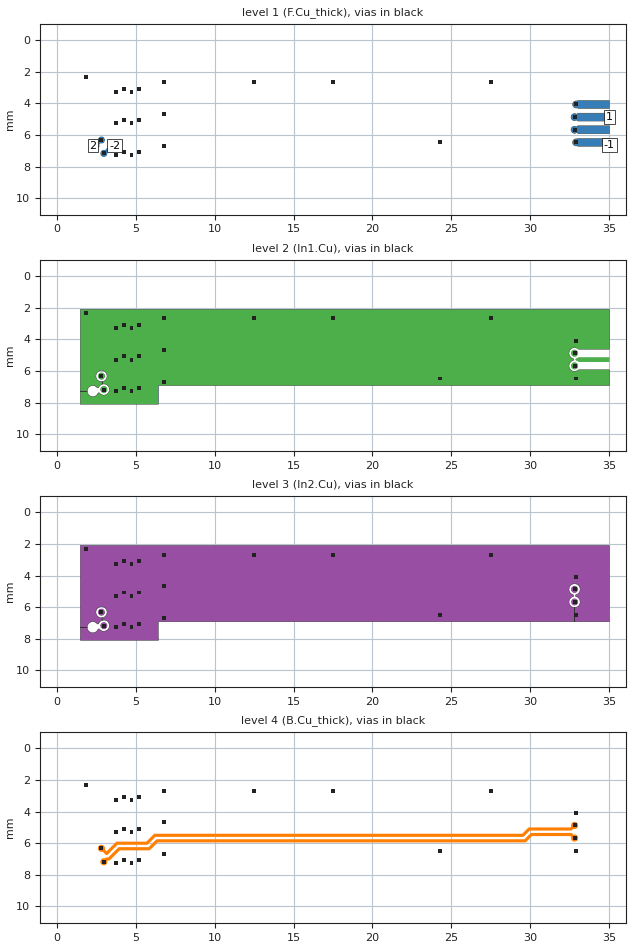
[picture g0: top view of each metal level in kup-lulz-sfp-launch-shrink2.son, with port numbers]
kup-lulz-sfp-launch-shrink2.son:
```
FTYP SONPROJ 19 ! Sonnet Project File
VER 18.56
HEADER
LIC antikernel2.1.52448
DAT 03/01/2024 21:15:39
BUILT_BY_CREATED dxf 18.56 02/22/2024 23:40:04
BUILT_BY_SAVED sonnet 18.56
MDATE 03/01/2024 21:15:25
HDATE 03/01/2024 21:15:25
ANN Created by dxfgeo, Sonnet Software Inc.
END HEADER
DIM
ANG DEG
CAP PF
CON /OH
FREQ GHZ
IND NH
LNG MM
RES OH
END DIM
CONTROL
VARSWP
OPTIONS  -dj
SPEED 1
CACHE_ABS 2
Q_ACC N
END CONTROL
GEO
TMET "Free Space" 0 FREESPACE 376.7303136 0 0 0
BMET "Free Space" 0 FREESPACE 376.7303136 0 0 0
MET "Copper_1oz+plated_thick_up" 1 TMM 58000000 0.5 0.0432 2
MET "Copper_1oz+plated_thin" 4 NOR 58000000 0.5 0.0432 
MET "Copper_0.5oz_thin" 2 NOR 58000000 0.5 0.0175 
MET "Copper_1oz+plated_thick_down" 3 TMM 58000000 0.5 0.0432 2 CDVY TDWN
BOX 6 35 10 2800 800 20 0
      10 1 1 0 0 0 0 "Air"
      0.05 3.5 1 0.02 0 0 0 "Soldermask"
      0.2021 3.61 1 0.0092 0 0 0 "Isola_FR408HR"
      1.1938 3.61 1 0.0092 0 0 0 "Isola_FR408HR"
      0.2021 3.61 1 0.0092 0 0 0 "Isola_FR408HR"
      0.05 3.5 1 0.02 0 0 0 "Soldermask"
      10 1 1 0 0 0 0 "Air"
TECHLAY METAL F.Cu_thick L1D0 -1 -65534 CAD F.Cu drawing 
1 0 0 N 2088 1 1 100 100 0 0 0 Y
END
END
TECHLAY METAL F.Cu_thin <UNSPECIFIED> -2 -65534 CAD F.Cu_thin drawing 
1 0 1 N 2090 1 1 100 100 0 0 0 Y
END
END
TECHLAY VIA Via1 L5D0 -7 -65534 CAD Via1 drawing 
VIA POLYGON
1 0 -1 N 2579 1 1 100 100 0 0 0 Y
TOLEVEL 4 RING NOCOVERS
END
END
TECHLAY METAL In1.Cu L2D0 -3 -65534 CAD In1.Cu drawing 
2 0 2 N 2095 1 1 100 100 0 0 0 Y
END
END
TECHLAY METAL In2.Cu L3D0 -4 -65534 CAD In2.Cu drawing 
3 0 2 N 2098 1 1 100 100 0 0 0 Y
END
END
TECHLAY METAL B.Cu_thick L4D0 -5 -65534 CAD B.Cu drawing 
4 0 3 N 2101 1 1 100 100 0 0 0 Y
END
END
TECHLAY METAL B.Cu_thin <UNSPECIFIED> -6 -65534 CAD B.Cu_thin drawing 
4 0 1 N 2103 1 1 100 100 0 0 0 Y
END
END
LORGN 0 10 U 
POR1 BOX
POLY 2221 1
51
1 100 0 0 0 34.993 4.871 
POR1 BOX
POLY 2454 1
51
-1 100 0 0 0 34.993 5.671 
POR1 CUP Auto
GNDREF AUTO
TERMW FEED
POLY 2530 1
90
2 100 0 0 0 2.3 6.671 
CUPGRP "Auto" LOCAL
ID 2577
END
POR1 CUP Auto
GNDREF AUTO
TERMW FEED
POLY 2532 1
33
-2 100 0 0 0 3.675 6.671 
CUPGRP "Auto" LOCAL
ID 2578
END
NUM 45
1 53 0 N 2221 1 1 100 100 0 0 0 Y
TLAYNAM F.Cu_thick INH
34.993 5.121
32.993 5.121
32.993 5.061
32.914 5.061
32.909 5.064
32.889 5.074
32.869 5.083
32.848 5.089
32.826 5.094
32.804 5.096
32.782 5.096
32.76 5.094
32.738 5.089
32.717 5.083
32.697 5.074
32.677 5.064
32.659 5.052
32.642 5.038
32.626 5.022
32.612 5.005
32.6 4.987
32.59 4.967
32.581 4.947
32.575 4.926
32.57 4.904
32.568 4.882
32.568 4.86
32.57 4.838
32.575 4.816
32.581 4.795
32.59 4.775
32.6 4.755
32.612 4.737
32.626 4.72
32.642 4.704
32.659 4.69
32.677 4.678
32.697 4.668
32.717 4.659
32.738 4.653
32.76 4.648
32.782 4.646
32.804 4.646
32.826 4.648
32.848 4.653
32.869 4.659
32.889 4.668
32.909 4.678
32.914 4.681
32.993 4.681
32.993 4.621
34.993 4.621
34.993 5.121
END
1 49 0 N 2225 1 1 100 100 0 0 0 Y
TLAYNAM F.Cu_thick INH
34.993 6.721
32.993 6.721
32.993 6.672
32.989 6.674
32.969 6.683
32.948 6.689
32.926 6.694
32.904 6.696
32.882 6.696
32.86 6.694
32.838 6.689
32.817 6.683
32.797 6.674
32.777 6.664
32.759 6.652
32.742 6.638
32.726 6.622
32.712 6.605
32.7 6.587
32.69 6.567
32.681 6.547
32.675 6.526
32.67 6.504
32.668 6.482
32.668 6.46
32.67 6.438
32.675 6.416
32.681 6.395
32.69 6.375
32.7 6.355
32.712 6.337
32.726 6.32
32.742 6.304
32.759 6.29
32.777 6.278
32.797 6.268
32.817 6.259
32.838 6.253
32.86 6.248
32.882 6.246
32.904 6.246
32.926 6.248
32.948 6.253
32.969 6.259
32.989 6.268
32.993 6.27
32.993 6.221
34.993 6.221
34.993 6.721
END
1 49 0 N 2400 1 1 100 100 0 0 0 Y
TLAYNAM F.Cu_thick INH
34.993 4.321
32.993 4.321
32.993 4.272
32.989 4.274
32.969 4.283
32.948 4.289
32.926 4.294
32.904 4.296
32.882 4.296
32.86 4.294
32.838 4.289
32.817 4.283
32.797 4.274
32.777 4.264
32.759 4.252
32.742 4.238
32.726 4.222
32.712 4.205
32.7 4.187
32.69 4.167
32.681 4.147
32.675 4.126
32.67 4.104
32.668 4.082
32.668 4.06
32.67 4.038
32.675 4.016
32.681 3.995
32.69 3.975
32.7 3.955
32.712 3.937
32.726 3.92
32.742 3.904
32.759 3.89
32.777 3.878
32.797 3.868
32.817 3.859
32.838 3.853
32.86 3.848
32.882 3.846
32.904 3.846
32.926 3.848
32.948 3.853
32.969 3.859
32.989 3.868
32.993 3.87
32.993 3.821
34.993 3.821
34.993 4.321
END
1 53 0 N 2454 1 1 100 100 0 0 0 Y
TLAYNAM F.Cu_thick INH
34.993 5.921
32.993 5.921
32.993 5.861
32.914 5.861
32.909 5.864
32.889 5.874
32.869 5.883
32.848 5.889
32.826 5.894
32.804 5.896
32.782 5.896
32.76 5.894
32.738 5.889
32.717 5.883
32.697 5.874
32.677 5.864
32.659 5.852
32.642 5.838
32.626 5.822
32.612 5.805
32.6 5.787
32.59 5.767
32.581 5.747
32.575 5.726
32.57 5.704
32.568 5.682
32.568 5.66
32.57 5.638
32.575 5.616
32.581 5.595
32.59 5.575
32.6 5.555
32.612 5.537
32.626 5.52
32.642 5.504
32.659 5.49
32.677 5.478
32.697 5.468
32.717 5.459
32.738 5.453
32.76 5.448
32.782 5.446
32.804 5.446
32.826 5.448
32.848 5.453
32.869 5.459
32.889 5.468
32.909 5.478
32.914 5.481
32.993 5.481
32.993 5.421
34.993 5.421
34.993 5.921
END
1 105 0 N 2530 1 1 100 100 0 0 0 Y
TLAYNAM F.Cu_thick INH
2.526 6.894
2.548 6.889
2.569 6.883
2.589 6.874
2.609 6.864
2.627 6.852
2.644 6.838
2.66 6.822
2.674 6.805
2.686 6.787
2.696 6.767
2.705 6.747
2.711 6.726
2.716 6.704
2.718 6.682
2.718 6.66
2.716 6.638
2.711 6.616
2.706 6.599
2.771 6.534
2.788 6.539
2.81 6.544
2.832 6.546
2.854 6.546
2.876 6.544
2.898 6.539
2.919 6.533
2.939 6.524
2.959 6.514
2.977 6.502
2.994 6.488
3.01 6.472
3.024 6.455
3.036 6.437
3.046 6.417
3.055 6.397
3.061 6.376
3.066 6.354
3.068 6.332
3.068 6.31
3.066 6.288
3.061 6.266
3.055 6.245
3.046 6.225
3.036 6.205
3.024 6.187
3.01 6.17
2.994 6.154
2.977 6.14
2.959 6.128
2.939 6.118
2.919 6.109
2.898 6.103
2.876 6.098
2.854 6.096
2.832 6.096
2.81 6.098
2.788 6.103
2.767 6.109
2.747 6.118
2.727 6.128
2.709 6.14
2.692 6.154
2.676 6.17
2.662 6.187
2.65 6.205
2.64 6.225
2.631 6.245
2.625 6.266
2.62 6.288
2.618 6.31
2.618 6.332
2.62 6.354
2.625 6.376
2.63 6.393
2.565 6.458
2.548 6.453
2.526 6.448
2.504 6.446
2.482 6.446
2.46 6.448
2.438 6.453
2.417 6.459
2.397 6.468
2.377 6.478
2.359 6.49
2.342 6.504
2.326 6.52
2.312 6.537
2.3 6.555
2.3 6.555
2.3 6.787
2.3 6.787
2.312 6.805
2.326 6.822
2.342 6.838
2.359 6.852
2.377 6.864
2.397 6.874
2.417 6.883
2.438 6.889
2.46 6.894
2.482 6.896
2.504 6.896
2.526 6.894
END
1 103 0 N 2532 1 1 100 100 0 0 0 Y
TLAYNAM F.Cu_thick INH
3.026 7.394
3.048 7.389
3.069 7.383
3.089 7.374
3.109 7.364
3.127 7.352
3.144 7.338
3.16 7.322
3.174 7.305
3.186 7.287
3.196 7.267
3.205 7.247
3.211 7.226
3.216 7.204
3.218 7.182
3.218 7.16
3.216 7.138
3.211 7.116
3.206 7.099
3.421 6.884
3.438 6.889
3.46 6.894
3.482 6.896
3.504 6.896
3.526 6.894
3.548 6.889
3.569 6.883
3.589 6.874
3.609 6.864
3.627 6.852
3.644 6.838
3.66 6.822
3.674 6.805
3.675 6.8035
3.675 6.5385
3.674 6.537
3.66 6.52
3.644 6.504
3.627 6.49
3.609 6.478
3.589 6.468
3.569 6.459
3.548 6.453
3.526 6.448
3.504 6.446
3.482 6.446
3.46 6.448
3.438 6.453
3.417 6.459
3.397 6.468
3.377 6.478
3.359 6.49
3.342 6.504
3.326 6.52
3.312 6.537
3.3 6.555
3.29 6.575
3.281 6.595
3.275 6.616
3.27 6.638
3.268 6.66
3.268 6.682
3.27 6.704
3.275 6.726
3.28 6.743
3.065 6.958
3.048 6.953
3.026 6.948
3.004 6.946
2.982 6.946
2.96 6.948
2.938 6.953
2.917 6.959
2.897 6.968
2.877 6.978
2.859 6.99
2.842 7.004
2.826 7.02
2.812 7.037
2.8 7.055
2.79 7.075
2.781 7.095
2.775 7.116
2.77 7.138
2.768 7.16
2.768 7.182
2.77 7.204
2.775 7.226
2.781 7.247
2.79 7.267
2.8 7.287
2.812 7.305
2.826 7.322
2.842 7.338
2.859 7.352
2.877 7.364
2.897 7.374
2.917 7.383
2.938 7.389
2.96 7.394
2.982 7.396
3.004 7.396
3.026 7.394
END
VIA POLYGON
1 5 -1 N 2214 1 1 100 100 0 0 0 Y
TOLEVEL 4 RING NOCOVERS
TLAYNAM Via1 INH
33.018 6.596
32.768 6.596
32.768 6.346
33.018 6.346
33.018 6.596
END
VIA POLYGON
1 5 -1 N 2230 1 1 100 100 0 0 0 Y
TOLEVEL 4 RING NOCOVERS
TLAYNAM Via1 INH
24.418 6.596
24.168 6.596
24.168 6.346
24.418 6.346
24.418 6.596
END
VIA POLYGON
1 5 -1 N 2236 1 1 100 100 0 0 0 Y
TOLEVEL 4 RING NOCOVERS
TLAYNAM Via1 INH
5.368 5.196
5.118 5.196
5.118 4.946
5.368 4.946
5.368 5.196
END
VIA POLYGON
1 5 -1 N 2242 1 1 100 100 0 0 0 Y
TOLEVEL 4 RING NOCOVERS
TLAYNAM Via1 INH
3.868 5.396
3.618 5.396
3.618 5.146
3.868 5.146
3.868 5.396
END
VIA POLYGON
1 5 -1 N 2253 1 1 100 100 0 0 0 Y
TOLEVEL 4 RING NOCOVERS
TLAYNAM Via1 INH
1.968 2.446
1.718 2.446
1.718 2.196
1.968 2.196
1.968 2.446
END
VIA POLYGON
1 5 -1 N 2265 1 1 100 100 0 0 0 Y
TOLEVEL 4 RING NOCOVERS
TLAYNAM Via1 INH
32.918 4.996
32.668 4.996
32.668 4.746
32.918 4.746
32.918 4.996
END
VIA POLYGON
1 5 -1 N 2273 1 1 100 100 0 0 0 Y
TOLEVEL 4 RING NOCOVERS
TLAYNAM Via1 INH
4.368 3.196
4.118 3.196
4.118 2.946
4.368 2.946
4.368 3.196
END
VIA POLYGON
1 5 -1 N 2286 1 1 100 100 0 0 0 Y
TOLEVEL 4 RING NOCOVERS
TLAYNAM Via1 INH
33.018 4.196
32.768 4.196
32.768 3.946
33.018 3.946
33.018 4.196
END
VIA POLYGON
1 5 -1 N 2298 1 1 100 100 0 0 0 Y
TOLEVEL 4 RING NOCOVERS
TLAYNAM Via1 INH
2.968 6.446
2.718 6.446
2.718 6.196
2.968 6.196
2.968 6.446
END
VIA POLYGON
1 5 -1 N 2301 1 1 100 100 0 0 0 Y
TOLEVEL 4 RING NOCOVERS
TLAYNAM Via1 INH
4.368 7.196
4.118 7.196
4.118 6.946
4.368 6.946
4.368 7.196
END
VIA POLYGON
1 5 -1 N 2304 1 1 100 100 0 0 0 Y
TOLEVEL 4 RING NOCOVERS
TLAYNAM Via1 INH
3.868 7.396
3.618 7.396
3.618 7.146
3.868 7.146
3.868 7.396
END
VIA POLYGON
1 5 -1 N 2306 1 1 100 100 0 0 0 Y
TOLEVEL 4 RING NOCOVERS
TLAYNAM Via1 INH
6.918 4.796
6.668 4.796
6.668 4.546
6.918 4.546
6.918 4.796
END
VIA POLYGON
1 5 -1 N 2308 1 1 100 100 0 0 0 Y
TOLEVEL 4 RING NOCOVERS
TLAYNAM Via1 INH
4.868 5.396
4.618 5.396
4.618 5.146
4.868 5.146
4.868 5.396
END
VIA POLYGON
1 5 -1 N 2309 1 1 100 100 0 0 0 Y
TOLEVEL 4 RING NOCOVERS
TLAYNAM Via1 INH
6.918 6.796
6.668 6.796
6.668 6.546
6.918 6.546
6.918 6.796
END
VIA POLYGON
1 5 -1 N 2323 1 1 100 100 0 0 0 Y
TOLEVEL 4 RING NOCOVERS
TLAYNAM Via1 INH
3.118 7.296
2.868 7.296
2.868 7.046
3.118 7.046
3.118 7.296
END
VIA POLYGON
1 5 -1 N 2328 1 1 100 100 0 0 0 Y
TOLEVEL 4 RING NOCOVERS
TLAYNAM Via1 INH
3.868 3.396
3.618 3.396
3.618 3.146
3.868 3.146
3.868 3.396
END
VIA POLYGON
1 5 -1 N 2344 1 1 100 100 0 0 0 Y
TOLEVEL 4 RING NOCOVERS
TLAYNAM Via1 INH
6.918 2.796
6.668 2.796
6.668 2.546
6.918 2.546
6.918 2.796
END
VIA POLYGON
1 5 -1 N 2346 1 1 100 100 0 0 0 Y
TOLEVEL 4 RING NOCOVERS
TLAYNAM Via1 INH
32.918 5.796
32.668 5.796
32.668 5.546
32.918 5.546
32.918 5.796
END
VIA POLYGON
1 5 -1 N 2372 1 1 100 100 0 0 0 Y
TOLEVEL 4 RING NOCOVERS
TLAYNAM Via1 INH
4.868 7.396
4.618 7.396
4.618 7.146
4.868 7.146
4.868 7.396
END
VIA POLYGON
1 5 -1 N 2375 1 1 100 100 0 0 0 Y
TOLEVEL 4 RING NOCOVERS
TLAYNAM Via1 INH
4.368 5.196
4.118 5.196
4.118 4.946
4.368 4.946
4.368 5.196
END
VIA POLYGON
1 5 -1 N 2384 1 1 100 100 0 0 0 Y
TOLEVEL 4 RING NOCOVERS
TLAYNAM Via1 INH
12.618 2.796
12.368 2.796
12.368 2.546
12.618 2.546
12.618 2.796
END
VIA POLYGON
1 5 -1 N 2393 1 1 100 100 0 0 0 Y
TOLEVEL 4 RING NOCOVERS
TLAYNAM Via1 INH
5.368 3.196
5.118 3.196
5.118 2.946
5.368 2.946
5.368 3.196
END
VIA POLYGON
1 5 -1 N 2398 1 1 100 100 0 0 0 Y
TOLEVEL 4 RING NOCOVERS
TLAYNAM Via1 INH
4.868 3.396
4.618 3.396
4.618 3.146
4.868 3.146
4.868 3.396
END
VIA POLYGON
1 5 -1 N 2434 1 1 100 100 0 0 0 Y
TOLEVEL 4 RING NOCOVERS
TLAYNAM Via1 INH
17.618 2.796
17.368 2.796
17.368 2.546
17.618 2.546
17.618 2.796
END
VIA POLYGON
1 5 -1 N 2441 1 1 100 100 0 0 0 Y
TOLEVEL 4 RING NOCOVERS
TLAYNAM Via1 INH
5.368 7.196
5.118 7.196
5.118 6.946
5.368 6.946
5.368 7.196
END
VIA POLYGON
1 5 -1 N 2448 1 1 100 100 0 0 0 Y
TOLEVEL 4 RING NOCOVERS
TLAYNAM Via1 INH
27.618 2.796
27.368 2.796
27.368 2.546
27.618 2.546
27.618 2.796
END
2 65 2 N 2275 1 1 100 100 0 0 0 Y
TLAYNAM In1.Cu INH
33.018 5.682
33.016 5.704
33.011 5.726
33.005 5.747
32.996 5.767
32.986 5.787
32.974 5.805
32.96 5.822
32.944 5.838
32.927 5.852
32.909 5.864
32.889 5.874
32.869 5.883
32.848 5.889
32.826 5.894
32.804 5.896
32.782 5.896
32.76 5.894
32.738 5.889
32.717 5.883
32.697 5.874
32.677 5.864
32.659 5.852
32.642 5.838
32.626 5.822
32.612 5.805
32.6 5.787
32.59 5.767
32.581 5.747
32.575 5.726
32.57 5.704
32.568 5.682
32.568 5.66
32.57 5.638
32.575 5.616
32.581 5.595
32.59 5.575
32.6 5.555
32.612 5.537
32.626 5.52
32.642 5.504
32.659 5.49
32.677 5.478
32.697 5.468
32.717 5.459
32.738 5.453
32.76 5.448
32.782 5.446
32.804 5.446
32.826 5.448
32.848 5.453
32.869 5.459
32.889 5.468
32.909 5.478
32.927 5.49
32.944 5.504
32.96 5.52
32.974 5.537
32.986 5.555
32.996 5.575
33.005 5.595
33.011 5.616
33.016 5.638
33.018 5.66
33.018 5.682
END
2 65 2 N 2277 1 1 100 100 0 0 0 Y
TLAYNAM In1.Cu INH
33.018 4.882
33.016 4.904
33.011 4.926
33.005 4.947
32.996 4.967
32.986 4.987
32.974 5.005
32.96 5.022
32.944 5.038
32.927 5.052
32.909 5.064
32.889 5.074
32.869 5.083
32.848 5.089
32.826 5.094
32.804 5.096
32.782 5.096
32.76 5.094
32.738 5.089
32.717 5.083
32.697 5.074
32.677 5.064
32.659 5.052
32.642 5.038
32.626 5.022
32.612 5.005
32.6 4.987
32.59 4.967
32.581 4.947
32.575 4.926
32.57 4.904
32.568 4.882
32.568 4.86
32.57 4.838
32.575 4.816
32.581 4.795
32.59 4.775
32.6 4.755
32.612 4.737
32.626 4.72
32.642 4.704
32.659 4.69
32.677 4.678
32.697 4.668
32.717 4.659
32.738 4.653
32.76 4.648
32.782 4.646
32.804 4.646
32.826 4.648
32.848 4.653
32.869 4.659
32.889 4.668
32.909 4.678
32.927 4.69
32.944 4.704
32.96 4.72
32.974 4.737
32.986 4.755
32.996 4.775
33.005 4.795
33.011 4.816
33.016 4.838
33.018 4.86
33.018 4.882
END
2 65 2 N 2365 1 1 100 100 0 0 0 Y
TLAYNAM In1.Cu INH
3.068 6.332
3.066 6.354
3.061 6.376
3.055 6.397
3.046 6.417
3.036 6.437
3.024 6.455
3.01 6.472
2.994 6.488
2.977 6.502
2.959 6.514
2.939 6.524
2.919 6.533
2.898 6.539
2.876 6.544
2.854 6.546
2.832 6.546
2.81 6.544
2.788 6.539
2.767 6.533
2.747 6.524
2.727 6.514
2.709 6.502
2.692 6.488
2.676 6.472
2.662 6.455
2.65 6.437
2.64 6.417
2.631 6.397
2.625 6.376
2.62 6.354
2.618 6.332
2.618 6.31
2.62 6.288
2.625 6.266
2.631 6.245
2.64 6.225
2.65 6.205
2.662 6.187
2.676 6.17
2.692 6.154
2.709 6.14
2.727 6.128
2.747 6.118
2.767 6.109
2.788 6.103
2.81 6.098
2.832 6.096
2.854 6.096
2.876 6.098
2.898 6.103
2.919 6.109
2.939 6.118
2.959 6.128
2.977 6.14
2.994 6.154
3.01 6.17
3.024 6.187
3.036 6.205
3.046 6.225
3.055 6.245
3.061 6.266
3.066 6.288
3.068 6.31
3.068 6.332
END
2 65 2 N 2388 1 1 100 100 0 0 0 Y
TLAYNAM In1.Cu INH
3.218 7.182
3.216 7.204
3.211 7.226
3.205 7.247
3.196 7.267
3.186 7.287
3.174 7.305
3.16 7.322
3.144 7.338
3.127 7.352
3.109 7.364
3.089 7.374
3.069 7.383
3.048 7.389
3.026 7.394
3.004 7.396
2.982 7.396
2.96 7.394
2.938 7.389
2.917 7.383
2.897 7.374
2.877 7.364
2.859 7.352
2.842 7.338
2.826 7.322
2.812 7.305
2.8 7.287
2.79 7.267
2.781 7.247
2.775 7.226
2.77 7.204
2.768 7.182
2.768 7.16
2.77 7.138
2.775 7.116
2.781 7.095
2.79 7.075
2.8 7.055
2.812 7.037
2.826 7.02
2.842 7.004
2.859 6.99
2.877 6.978
2.897 6.968
2.917 6.959
2.938 6.953
2.96 6.948
2.982 6.946
3.004 6.946
3.026 6.948
3.048 6.953
3.069 6.959
3.089 6.968
3.109 6.978
3.127 6.99
3.144 7.004
3.16 7.02
3.174 7.037
3.186 7.055
3.196 7.075
3.205 7.095
3.211 7.116
3.216 7.138
3.218 7.16
3.218 7.182
END
2 16 2 N 2478 1 1 100 100 0 0 0 Y
TLAYNAM In1.Cu INH
34.993 5.121
33.064 5.121
33.021 5.139
33.002 5.158
32.903 5.208
32.892 5.21
32.865 5.221
32.84 5.261
32.851 5.307
32.892 5.332
32.903 5.333
33.002 5.384
33.021 5.403
33.064 5.421
34.993 5.421
34.993 5.121
END
2 126 2 N 2564 1 1 100 100 0 0 0 Y
TLAYNAM In1.Cu INH
6.45 6.921
34.993 6.921
34.993 5.921
33.064 5.921
33.021 5.939
33.002 5.958
32.903 6.008
32.793 6.026
32.683 6.008
32.584 5.958
32.578 5.952
32.578 5.952
32.506 5.88
32.456 5.781
32.438 5.671
32.456 5.561
32.506 5.462
32.584 5.384
32.683 5.333
32.694 5.332
32.721 5.321
32.746 5.281
32.735 5.235
32.694 5.21
32.683 5.208
32.584 5.158
32.506 5.08
32.456 4.981
32.438 4.871
32.456 4.761
32.506 4.662
32.584 4.584
32.683 4.533
32.793 4.516
32.903 4.533
32.944 4.555
33.002 4.584
33.021 4.603
33.064 4.621
34.993 4.621
34.993 4.275
34.993 2.094
1.506 2.094
1.506 3.56911
1.506 7.271
1.938 7.271
1.956 7.161
2.006 7.062
2.038 7.03
2.084 6.984
2.183 6.933
2.293 6.916
2.393 6.932
2.403 6.933
2.488 6.977
2.502 6.984
2.57 7.052
2.585 7.063
2.632 7.067
2.668 7.037
2.68 7.013
2.706 6.962
2.784 6.884
2.843 6.854
2.883 6.833
2.883 6.669455
2.883 6.669455
2.843 6.676
2.733 6.658
2.634 6.608
2.556 6.53
2.506 6.431
2.488 6.321
2.506 6.211
2.556 6.112
2.634 6.034
2.733 5.983
2.843 5.966
2.953 5.983
3.052 6.034
3.13 6.112
3.181 6.211
3.198 6.321
3.181 6.431
3.13 6.53
3.052 6.608
2.953 6.658
2.883 6.669455
2.883 6.833
2.883 6.833
2.883 6.833
2.883 6.833
2.883 6.833
2.883 6.833
2.993 6.816
3.103 6.833
3.202 6.884
3.28 6.962
3.331 7.061
3.348 7.171
3.331 7.281
3.28 7.38
3.202 7.458
3.103 7.508
2.993 7.526
2.883 7.508
2.784 7.458
2.716 7.39
2.701 7.379
2.654 7.375
2.618 7.405
2.582 7.475
2.58 7.48
2.502 7.558
2.403 7.608
2.293 7.626
2.183 7.608
2.084 7.558
2.006 7.48
1.956 7.381
1.938 7.271
1.506 7.271
1.506 7.271
1.506 8.1
6.45 8.1
6.45 6.921
END
3 65 2 N 2252 1 1 100 100 0 0 0 Y
TLAYNAM In2.Cu INH
33.018 5.682
33.016 5.704
33.011 5.726
33.005 5.747
32.996 5.767
32.986 5.787
32.974 5.805
32.96 5.822
32.944 5.838
32.927 5.852
32.909 5.864
32.889 5.874
32.869 5.883
32.848 5.889
32.826 5.894
32.804 5.896
32.782 5.896
32.76 5.894
32.738 5.889
32.717 5.883
32.697 5.874
32.677 5.864
32.659 5.852
32.642 5.838
32.626 5.822
32.612 5.805
32.6 5.787
32.59 5.767
32.581 5.747
32.575 5.726
32.57 5.704
32.568 5.682
32.568 5.66
32.57 5.638
32.575 5.616
32.581 5.595
32.59 5.575
32.6 5.555
32.612 5.537
32.626 5.52
32.642 5.504
32.659 5.49
32.677 5.478
32.697 5.468
32.717 5.459
32.738 5.453
32.76 5.448
32.782 5.446
32.804 5.446
32.826 5.448
32.848 5.453
32.869 5.459
32.889 5.468
32.909 5.478
32.927 5.49
32.944 5.504
32.96 5.52
32.974 5.537
32.986 5.555
32.996 5.575
33.005 5.595
33.011 5.616
33.016 5.638
33.018 5.66
33.018 5.682
END
3 65 2 N 2379 1 1 100 100 0 0 0 Y
TLAYNAM In2.Cu INH
3.068 6.332
3.066 6.354
3.061 6.376
3.055 6.397
3.046 6.417
3.036 6.437
3.024 6.455
3.01 6.472
2.994 6.488
2.977 6.502
2.959 6.514
2.939 6.524
2.919 6.533
2.898 6.539
2.876 6.544
2.854 6.546
2.832 6.546
2.81 6.544
2.788 6.539
2.767 6.533
2.747 6.524
2.727 6.514
2.709 6.502
2.692 6.488
2.676 6.472
2.662 6.455
2.65 6.437
2.64 6.417
2.631 6.397
2.625 6.376
2.62 6.354
2.618 6.332
2.618 6.31
2.62 6.288
2.625 6.266
2.631 6.245
2.64 6.225
2.65 6.205
2.662 6.187
2.676 6.17
2.692 6.154
2.709 6.14
2.727 6.128
2.747 6.118
2.767 6.109
2.788 6.103
2.81 6.098
2.832 6.096
2.854 6.096
2.876 6.098
2.898 6.103
2.919 6.109
2.939 6.118
2.959 6.128
2.977 6.14
2.994 6.154
3.01 6.17
3.024 6.187
3.036 6.205
3.046 6.225
3.055 6.245
3.061 6.266
3.066 6.288
3.068 6.31
3.068 6.332
END
3 65 2 N 2411 1 1 100 100 0 0 0 Y
TLAYNAM In2.Cu INH
33.018 4.882
33.016 4.904
33.011 4.926
33.005 4.947
32.996 4.967
32.986 4.987
32.974 5.005
32.96 5.022
32.944 5.038
32.927 5.052
32.909 5.064
32.889 5.074
32.869 5.083
32.848 5.089
32.826 5.094
32.804 5.096
32.782 5.096
32.76 5.094
32.738 5.089
32.717 5.083
32.697 5.074
32.677 5.064
32.659 5.052
32.642 5.038
32.626 5.022
32.612 5.005
32.6 4.987
32.59 4.967
32.581 4.947
32.575 4.926
32.57 4.904
32.568 4.882
32.568 4.86
32.57 4.838
32.575 4.816
32.581 4.795
32.59 4.775
32.6 4.755
32.612 4.737
32.626 4.72
32.642 4.704
32.659 4.69
32.677 4.678
32.697 4.668
32.717 4.659
32.738 4.653
32.76 4.648
32.782 4.646
32.804 4.646
32.826 4.648
32.848 4.653
32.869 4.659
32.889 4.668
32.909 4.678
32.927 4.69
32.944 4.704
32.96 4.72
32.974 4.737
32.986 4.755
32.996 4.775
33.005 4.795
33.011 4.816
33.016 4.838
33.018 4.86
33.018 4.882
END
3 65 2 N 2432 1 1 100 100 0 0 0 Y
TLAYNAM In2.Cu INH
3.218 7.182
3.216 7.204
3.211 7.226
3.205 7.247
3.196 7.267
3.186 7.287
3.174 7.305
3.16 7.322
3.144 7.338
3.127 7.352
3.109 7.364
3.089 7.374
3.069 7.383
3.048 7.389
3.026 7.394
3.004 7.396
2.982 7.396
2.96 7.394
2.938 7.389
2.917 7.383
2.897 7.374
2.877 7.364
2.859 7.352
2.842 7.338
2.826 7.322
2.812 7.305
2.8 7.287
2.79 7.267
2.781 7.247
2.775 7.226
2.77 7.204
2.768 7.182
2.768 7.16
2.77 7.138
2.775 7.116
2.781 7.095
2.79 7.075
2.8 7.055
2.812 7.037
2.826 7.02
2.842 7.004
2.859 6.99
2.877 6.978
2.897 6.968
2.917 6.959
2.938 6.953
2.96 6.948
2.982 6.946
3.004 6.946
3.026 6.948
3.048 6.953
3.069 6.959
3.089 6.968
3.109 6.978
3.127 6.99
3.144 7.004
3.16 7.02
3.174 7.037
3.186 7.055
3.196 7.075
3.205 7.095
3.211 7.116
3.216 7.138
3.218 7.16
3.218 7.182
END
3 147 2 N 2565 1 1 100 100 0 0 0 Y
TLAYNAM In2.Cu INH
6.45 6.921
32.793 6.921
32.793 6.026
32.683 6.008
32.584 5.958
32.578 5.952
32.578 5.952
32.506 5.88
32.456 5.781
32.438 5.671
32.456 5.561
32.506 5.462
32.584 5.384
32.683 5.333
32.694 5.332
32.721 5.321
32.746 5.281
32.735 5.235
32.694 5.21
32.683 5.208
32.584 5.158
32.506 5.08
32.456 4.981
32.438 4.871
32.456 4.761
32.506 4.662
32.584 4.584
32.683 4.533
32.793 4.516
32.903 4.533
32.944 4.555
33.002 4.584
33.08 4.662
33.131 4.761
33.148 4.871
33.131 4.981
33.08 5.08
33.002 5.158
32.903 5.208
32.892 5.21
32.865 5.221
32.84 5.261
32.851 5.307
32.892 5.332
32.903 5.333
33.002 5.384
33.08 5.462
33.131 5.561
33.148 5.671
33.131 5.781
33.08 5.88
33.002 5.958
32.903 6.008
32.793 6.026
32.793 6.921
34.993 6.921
34.993 4.325
34.993 3.472
34.993 3.07
34.993 2.672
34.993 2.27
34.993 2.131454545
34.993 2.094
1.506 2.094
1.506 3.56911
1.506 7.271
1.938 7.271
1.956 7.161
2.006 7.062
2.038 7.03
2.084 6.984
2.183 6.933
2.293 6.916
2.393 6.932
2.403 6.933
2.488 6.977
2.502 6.984
2.57 7.052
2.585 7.063
2.632 7.067
2.668 7.037
2.68 7.013
2.706 6.962
2.784 6.884
2.843 6.854
2.883 6.833
2.883 6.669455
2.883 6.669455
2.843 6.676
2.733 6.658
2.634 6.608
2.556 6.53
2.506 6.431
2.488 6.321
2.506 6.211
2.556 6.112
2.634 6.034
2.733 5.983
2.843 5.966
2.953 5.983
3.052 6.034
3.13 6.112
3.181 6.211
3.198 6.321
3.181 6.431
3.13 6.53
3.052 6.608
2.953 6.658
2.883 6.669455
2.883 6.833
2.883 6.833
2.883 6.833
2.883 6.833
2.883 6.833
2.883 6.833
2.993 6.816
3.103 6.833
3.202 6.884
3.28 6.962
3.331 7.061
3.348 7.171
3.331 7.281
3.28 7.38
3.202 7.458
3.103 7.508
2.993 7.526
2.883 7.508
2.784 7.458
2.716 7.39
2.701 7.379
2.654 7.375
2.618 7.405
2.582 7.475
2.58 7.48
2.502 7.558
2.403 7.608
2.293 7.626
2.183 7.608
2.084 7.558
2.006 7.48
1.956 7.381
1.938 7.271
1.506 7.271
1.506 7.271
1.506 8.1
6.45 8.1
6.45 6.921
END
4 189 3 N 2263 1 1 100 100 0 0 0 Y
TLAYNAM B.Cu_thick INH
33.018 5.682
33.016 5.704
33.011 5.726
33.005 5.747
32.996 5.767
32.986 5.787
32.974 5.805
32.96 5.822
32.944 5.838
32.927 5.852
32.909 5.864
32.889 5.874
32.869 5.883
32.848 5.889
32.826 5.894
32.804 5.896
32.782 5.896
32.76 5.894
32.738 5.889
32.717 5.883
32.697 5.874
32.677 5.864
32.659 5.852
32.642 5.838
32.626 5.822
32.612 5.805
32.6 5.787
32.59 5.767
32.581 5.747
32.575 5.726
32.57 5.704
32.568 5.682
32.568 5.66
32.57 5.638
32.575 5.616
32.58 5.599
32.527 5.546
30.106 5.546
29.732 5.92
29.725 5.926
29.716 5.932
29.708 5.937
29.699 5.94
29.689 5.943
29.68 5.945
29.67 5.946
6.406 5.946
5.932 6.42
5.925 6.426
5.916 6.432
5.908 6.437
5.899 6.44
5.889 6.443
5.88 6.445
5.87 6.446
4.006 6.446
3.396 7.056
3.39 7.063
3.383 7.07
3.382 7.07
3.375 7.076
3.367 7.082
3.358 7.087
3.34 7.093
3.33 7.095
3.32 7.096
3.209 7.096
3.206 7.099
3.211 7.116
3.216 7.138
3.218 7.16
3.218 7.182
3.216 7.204
3.211 7.226
3.205 7.247
3.196 7.267
3.186 7.287
3.174 7.305
3.16 7.322
3.144 7.338
3.127 7.352
3.109 7.364
3.089 7.374
3.069 7.383
3.048 7.389
3.026 7.394
3.004 7.396
2.982 7.396
2.96 7.394
2.938 7.389
2.917 7.383
2.897 7.374
2.877 7.364
2.859 7.352
2.842 7.338
2.826 7.322
2.812 7.305
2.8 7.287
2.79 7.267
2.781 7.247
2.775 7.226
2.77 7.204
2.768 7.182
2.768 7.16
2.77 7.138
2.775 7.116
2.781 7.095
2.79 7.075
2.8 7.055
2.812 7.037
2.826 7.02
2.842 7.004
2.859 6.99
2.877 6.978
2.897 6.968
2.917 6.959
2.938 6.953
2.96 6.948
2.982 6.946
3.004 6.946
3.026 6.948
3.048 6.953
3.065 6.958
3.101 6.922
3.108 6.916
3.117 6.91
3.125 6.905
3.134 6.902
3.144 6.899
3.153 6.897
3.163 6.896
3.274 6.896
3.885 6.286
3.891 6.279
3.898 6.272
3.905 6.266
3.914 6.26
3.922 6.255
3.931 6.252
3.941 6.249
3.95 6.247
3.96 6.246
5.824 6.246
6.298 5.772
6.305 5.766
6.314 5.76
6.322 5.755
6.331 5.752
6.341 5.749
6.35 5.747
6.36 5.746
29.624 5.746
29.998 5.372
30.005 5.366
30.014 5.36
30.022 5.355
30.031 5.352
30.041 5.349
30.05 5.347
30.06 5.346
32.573 5.346
32.583 5.347
32.592 5.349
32.602 5.352
32.611 5.355
32.619 5.36
32.628 5.366
32.635 5.372
32.721 5.458
32.738 5.453
32.76 5.448
32.782 5.446
32.804 5.446
32.826 5.448
32.848 5.453
32.869 5.459
32.889 5.468
32.909 5.478
32.927 5.49
32.944 5.504
32.96 5.52
32.974 5.537
32.986 5.555
32.996 5.575
33.005 5.595
33.011 5.616
33.016 5.638
33.018 5.66
33.018 5.682
END
4 189 3 N 2459 1 1 100 100 0 0 0 Y
TLAYNAM B.Cu_thick INH
33.018 4.882
33.016 4.904
33.011 4.926
33.005 4.947
32.996 4.967
32.986 4.987
32.974 5.005
32.96 5.022
32.944 5.038
32.927 5.052
32.909 5.064
32.889 5.074
32.869 5.083
32.848 5.089
32.826 5.094
32.804 5.096
32.782 5.096
32.76 5.094
32.738 5.089
32.721 5.084
32.649 5.156
32.643 5.163
32.636 5.17
32.635 5.17
32.628 5.176
32.62 5.182
32.611 5.187
32.593 5.193
32.583 5.195
32.573 5.196
29.962 5.196
29.588 5.57
29.581 5.576
29.572 5.582
29.564 5.587
29.555 5.59
29.545 5.593
29.536 5.595
29.526 5.596
6.262 5.596
5.788 6.07
5.781 6.076
5.772 6.082
5.764 6.087
5.755 6.09
5.745 6.093
5.736 6.095
5.726 6.096
3.862 6.096
3.238 6.72
3.231 6.726
3.222 6.732
3.214 6.737
3.205 6.74
3.195 6.743
3.186 6.745
3.183 6.745
3.176 6.746
3.163 6.746
3.153 6.745
3.144 6.743
3.134 6.74
3.125 6.737
3.117 6.732
3.108 6.726
3.101 6.72
2.915 6.534
2.898 6.539
2.876 6.544
2.854 6.546
2.832 6.546
2.81 6.544
2.788 6.539
2.767 6.533
2.747 6.524
2.727 6.514
2.709 6.502
2.692 6.488
2.676 6.472
2.662 6.455
2.65 6.437
2.64 6.417
2.631 6.397
2.625 6.376
2.62 6.354
2.618 6.332
2.618 6.31
2.62 6.288
2.625 6.266
2.631 6.245
2.64 6.225
2.65 6.205
2.662 6.187
2.676 6.17
2.692 6.154
2.709 6.14
2.727 6.128
2.747 6.118
2.767 6.109
2.788 6.103
2.81 6.098
2.832 6.096
2.854 6.096
2.876 6.098
2.898 6.103
2.919 6.109
2.939 6.118
2.959 6.128
2.977 6.14
2.994 6.154
3.01 6.17
3.024 6.187
3.036 6.205
3.046 6.225
3.055 6.245
3.061 6.266
3.066 6.288
3.068 6.31
3.068 6.332
3.066 6.354
3.061 6.376
3.056 6.393
3.17 6.507
3.741 5.936
3.747 5.929
3.754 5.922
3.761 5.916
3.77 5.91
3.778 5.905
3.787 5.902
3.797 5.899
3.806 5.897
3.816 5.896
5.68 5.896
6.154 5.422
6.161 5.416
6.17 5.41
6.178 5.405
6.187 5.402
6.197 5.399
6.206 5.397
6.216 5.396
29.48 5.396
29.854 5.022
29.861 5.016
29.87 5.01
29.878 5.005
29.887 5.002
29.897 4.999
29.906 4.997
29.916 4.996
32.527 4.996
32.58 4.943
32.575 4.926
32.57 4.904
32.568 4.882
32.568 4.86
32.57 4.838
32.575 4.816
32.581 4.795
32.59 4.775
32.6 4.755
32.612 4.737
32.626 4.72
32.642 4.704
32.659 4.69
32.677 4.678
32.697 4.668
32.717 4.659
32.738 4.653
32.76 4.648
32.782 4.646
32.804 4.646
32.826 4.648
32.848 4.653
32.869 4.659
32.889 4.668
32.909 4.678
32.927 4.69
32.944 4.704
32.96 4.72
32.974 4.737
32.986 4.755
32.996 4.775
33.005 4.795
33.011 4.816
33.016 4.838
33.018 4.86
33.018 4.882
END
END GEO
OPT
MAX 100
END OPT
VARSWP
ENABLED Y
FREQ Y AY ABS_ENTRY 0.1 40.0 -1 300 
END
END VARSWP
```
